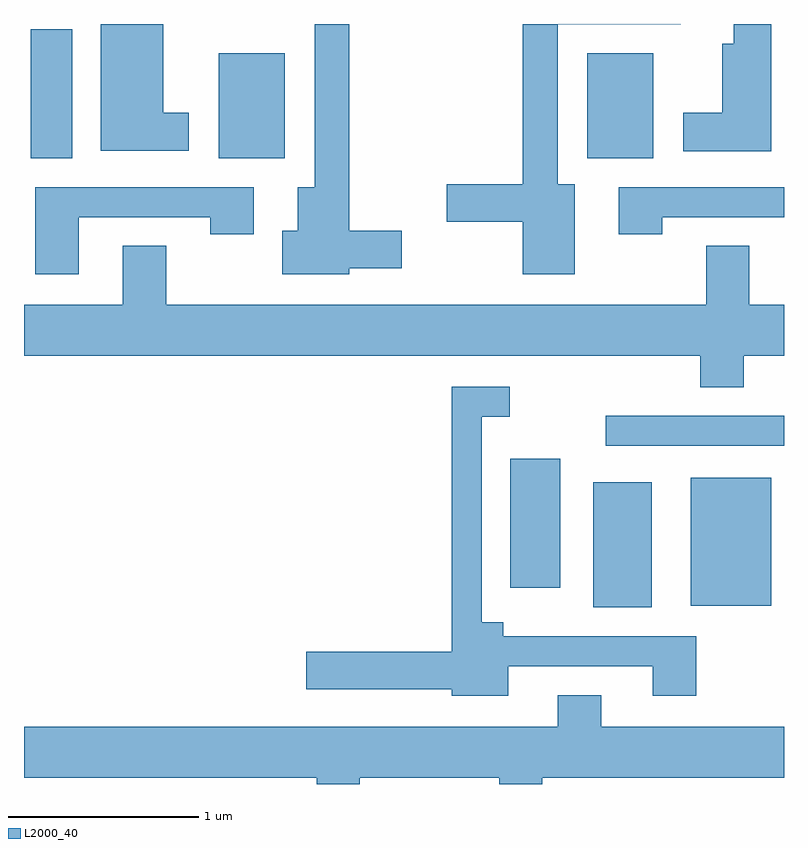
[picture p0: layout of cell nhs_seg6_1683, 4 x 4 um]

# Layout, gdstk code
import gdstk
lib = gdstk.Library(unit=1e-6, precision=1e-09)
def R(c, l, rs):  # rectangles x0, y0, x1, y1
    for r in rs: c.add(gdstk.rectangle(r[:2], r[2:], *l))
def P(c, l, *ps):  # polygons
    for p in ps: c.add(gdstk.Polygon(p, *l))
L2000_40 = (2000, 40)

nhs_seg6_1683 = lib.new_cell('nhs_seg6_1683')
R(nhs_seg6_1683, L2000_40, [(238.606,1613.091,238.914,1613.749), (239.121,1613.101,239.544,1613.774), (238.171,1613.196,238.434,1613.874), (238.673,1613.941,239.611,1614.099), (235.646,1615.456,235.864,1616.134), (236.636,1615.456,236.984,1616.009), (238.576,1615.456,238.924,1616.009)])
P(nhs_seg6_1683, L2000_40, [(236.479,1615.694),(236.344,1615.694),(236.344,1616.162),(236.016,1616.162),(236.016,1615.496),(236.479,1615.496)],
  [(239.544,1616.162),(239.346,1616.162),(239.346,1616.059),(239.286,1616.059),(239.286,1615.694),(239.081,1615.694),(239.081,1615.491),(239.544,1615.491)],
  [(238.509,1615.319),(238.419,1615.319),(238.419,1616.161),(239.068,1616.161),(239.068,1616.162),(238.236,1616.162),(238.236,1615.319),(237.836,1615.319),(237.836,1615.121),(238.236,1615.121),(238.236,1614.846),(238.509,1614.846)],
  [(237.324,1614.876),(237.599,1614.876),(237.599,1615.074),(237.324,1615.074),(237.324,1616.162),(236.493,1616.162),(236.493,1616.161),(237.141,1616.161),(237.141,1615.304),(237.051,1615.304),(237.051,1615.074),(236.971,1615.074),(236.971,1614.846),(237.324,1614.846)],
  [(238.969,1615.146),(239.611,1615.146),(239.611,1615.304),(238.741,1615.304),(238.741,1615.056),(238.969,1615.056)],
  [(235.899,1615.146),(236.591,1615.146),(236.591,1615.056),(236.819,1615.056),(236.819,1615.304),(235.671,1615.304),(235.671,1614.846),(235.899,1614.846)],
  [(239.399,1614.416),(239.611,1614.416),(239.611,1614.684),(239.429,1614.684),(239.429,1614.994),(239.201,1614.994),(239.201,1614.684),(236.359,1614.684),(236.359,1614.994),(236.131,1614.994),(236.131,1614.684),(235.611,1614.684),(235.611,1614.416),(239.171,1614.416),(239.171,1614.251),(239.399,1614.251)],
  [(238.159,1612.781),(238.921,1612.781),(238.921,1612.626),(239.149,1612.626),(239.149,1612.939),(238.134,1612.939),(238.134,1613.014),(238.019,1613.014),(238.019,1614.096),(238.168,1614.096),(238.168,1614.254),(237.861,1614.254),(237.861,1612.859),(237.096,1612.859),(237.096,1612.661),(237.861,1612.661),(237.861,1612.626),(238.159,1612.626)],
  [(237.379,1612.196),(238.111,1612.196),(238.111,1612.162),(238.339,1612.162),(238.339,1612.196),(239.611,1612.196),(239.611,1612.464),(238.649,1612.464),(238.649,1612.629),(238.421,1612.629),(238.421,1612.464),(235.611,1612.464),(235.611,1612.196),(237.151,1612.196),(237.151,1612.162),(237.379,1612.162)])

lib.write_gds('nhs_seg6_1683.gds')
